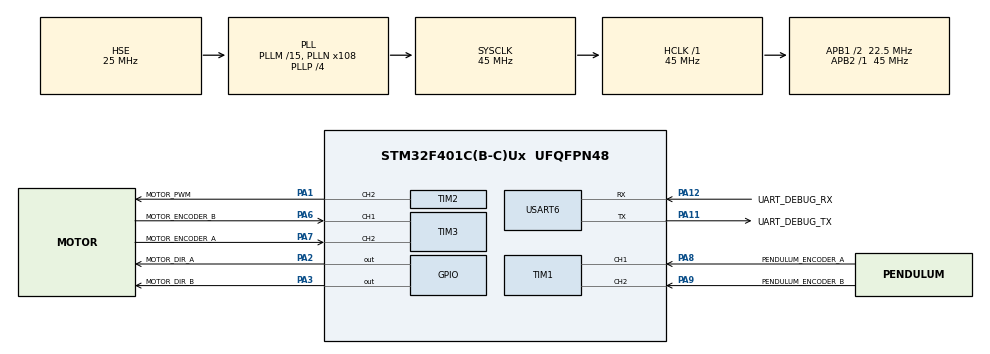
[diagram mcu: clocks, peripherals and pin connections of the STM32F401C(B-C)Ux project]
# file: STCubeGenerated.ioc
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Dma.Request0=USART6_RX
Dma.Request1=USART6_TX
Dma.USART6_RX.0.Direction=DMA_PERIPH_TO_MEMORY
Dma.USART6_RX.0.FIFOMode=DMA_FIFOMODE_DISABLE
Dma.USART6_RX.0.Instance=DMA2_Stream1
Dma.USART6_RX.0.MemDataAlignment=DMA_MDATAALIGN_BYTE
Dma.USART6_RX.0.MemInc=DMA_MINC_ENABLE
Dma.USART6_RX.0.Mode=DMA_NORMAL
Dma.USART6_RX.0.PeriphDataAlignment=DMA_PDATAALIGN_BYTE
Dma.USART6_RX.0.PeriphInc=DMA_PINC_DISABLE
Dma.USART6_RX.0.Priority=DMA_PRIORITY_LOW
Dma.USART6_TX.1.Direction=DMA_MEMORY_TO_PERIPH
Dma.USART6_TX.1.FIFOMode=DMA_FIFOMODE_DISABLE
Dma.USART6_TX.1.Instance=DMA2_Stream6
Dma.USART6_TX.1.MemDataAlignment=DMA_MDATAALIGN_BYTE
Dma.USART6_TX.1.MemInc=DMA_MINC_ENABLE
Dma.USART6_TX.1.Mode=DMA_NORMAL
Dma.USART6_TX.1.PeriphDataAlignment=DMA_PDATAALIGN_BYTE
Dma.USART6_TX.1.PeriphInc=DMA_PINC_DISABLE
Dma.USART6_TX.1.Priority=DMA_PRIORITY_LOW
Mcu.Family=STM32F4
Mcu.Name=STM32F401C(B-C)Ux
Mcu.Package=UFQFPN48
NVIC.DMA2_Stream1_IRQn=true\:0\:0\:false\:false\:true\:false\:true\:true
NVIC.DMA2_Stream6_IRQn=true\:0\:0\:false\:false\:true\:false\:true\:true
NVIC.PriorityGroup=NVIC_PRIORITYGROUP_4
NVIC.USART6_IRQn=true\:0\:0\:false\:false\:true\:true\:true\:true
PA1.GPIO_Label=MOTOR_PWM
PA1.Signal=S_TIM2_CH2
PA11.GPIO_Label=UART_DEBUG_TX
PA11.Mode=Asynchronous
PA11.Signal=USART6_TX
PA12.GPIO_Label=UART_DEBUG_RX
PA12.Mode=Asynchronous
PA12.Signal=USART6_RX
PA2.GPIO_Label=MOTOR_DIR_A
PA2.Signal=GPIO_Output
PA3.GPIO_Label=MOTOR_DIR_B
PA3.Signal=GPIO_Output
PA6.GPIO_Label=MOTOR_ENCODER_B
PA6.GPIO_PuPd=GPIO_PULLUP
PA6.Signal=S_TIM3_CH1
PA7.GPIO_Label=MOTOR_ENCODER_A
PA7.GPIO_PuPd=GPIO_PULLUP
PA7.Signal=S_TIM3_CH2
PA8.GPIO_Label=PENDULUM_ENCODER_A
PA8.GPIO_PuPd=GPIO_PULLUP
PA8.Signal=S_TIM1_CH1
PA9.GPIO_Label=PENDULUM_ENCODER_B
PA9.GPIO_PuPd=GPIO_PULLUP
PA9.Signal=S_TIM1_CH2
PH0\ -\ OSC_IN.Mode=HSE-External-Oscillator
PH0\ -\ OSC_IN.Signal=RCC_OSC_IN
PH1\ -\ OSC_OUT.Mode=HSE-External-Oscillator
PH1\ -\ OSC_OUT.Signal=RCC_OSC_OUT
ProjectManager.HeapSize=0x200
ProjectManager.StackSize=0x400
ProjectManager.TargetToolchain=MDK-ARM V5
RCC.48MHZClocksFreq_Value=45000000
RCC.AHBFreq_Value=45000000
RCC.APB1CLKDivider=RCC_HCLK_DIV2
RCC.APB1Freq_Value=22500000
RCC.APB1TimFreq_Value=45000000
RCC.APB2Freq_Value=45000000
RCC.APB2TimFreq_Value=45000000
RCC.CortexFreq_Value=45000000
RCC.HCLKFreq_Value=45000000
RCC.HSE_VALUE=25000000
RCC.HSI_VALUE=16000000
RCC.LSE_VALUE=32768
RCC.PLLM=15
RCC.PLLN=108
RCC.PLLP=RCC_PLLP_DIV4
RCC.PLLSourceVirtual=RCC_PLLSOURCE_HSE
RCC.SYSCLKFreq_VALUE=45000000
RCC.SYSCLKSource=RCC_SYSCLKSOURCE_PLLCLK
RCC.VCOOutputFreq_Value=180000000
SH.S_TIM1_CH1.0=TIM1_CH1,Encoder_Interface
SH.S_TIM1_CH2.0=TIM1_CH2,Encoder_Interface
SH.S_TIM2_CH2.0=TIM2_CH2,PWM Generation2 CH2
SH.S_TIM3_CH1.0=TIM3_CH1,Encoder_Interface
SH.S_TIM3_CH2.0=TIM3_CH2,Encoder_Interface
TIM1.AutoReloadPreload=TIM_AUTORELOAD_PRELOAD_ENABLE
TIM1.EncoderMode=TIM_ENCODERMODE_TI12
TIM2.Channel-PWM\ Generation2\ CH2=TIM_CHANNEL_2
TIM2.Period=1000-1
TIM2.Prescaler=3-1
TIM3.AutoReloadPreload=TIM_AUTORELOAD_PRELOAD_ENABLE
TIM3.EncoderMode=TIM_ENCODERMODE_TI12
USART6.VirtualMode=VM_ASYNC
board=custom

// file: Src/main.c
/* USER CODE BEGIN Header */
/**
  ******************************************************************************
  * @file           : main.c
  * @brief          : Main program body
  ******************************************************************************
  * @attention
  *
  * Copyright (c) 2024 STMicroelectronics.
  * All rights reserved.
  *
  * This software is licensed under terms that can be found in the LICENSE file
  * in the root directory of this software component.
  * If no LICENSE file comes with this software, it is provided AS-IS.
  *
  ******************************************************************************
  */
/* USER CODE END Header */
#include "main.h"
#include "dma.h"
#include "tim.h"
#include "usart.h"
#include "gpio.h"

/* USER CODE BEGIN Includes */
#include "RTE_Components.h"

#ifdef RTE_Compiler_EventRecorder
	#include "EventRecorder.h"
#endif

#include "cmsis_os2.h"

#include "app_main.h"

/* USER CODE END Includes */

/* USER CODE BEGIN PD */
#define APP_MAIN_STACK_SIZE	1024
/* USER CODE END PD */

/* USER CODE BEGIN PV */
osThreadId_t TID_AppMain;
/* USER CODE END PV */

void SystemClock_Config(void);

/* USER CODE BEGIN 0 */
uint32_t HAL_GetTick (void)
{
	static uint32_t ticks = 0U;
	uint32_t i;

	if(osKernelGetState() == osKernelRunning)
	{
		return ((uint32_t)osKernelGetTickCount ());
	}

	/* If Kernel is not running wait approximately 1 ms then increment and return auxiliary tick counter value */
	for(i = (SystemCoreClock >> 14U); i > 0U; i--) { __NOP(); __NOP(); __NOP(); __NOP(); __NOP(); __NOP(); __NOP(); __NOP(); __NOP(); __NOP(); __NOP(); __NOP(); }
 return ++ticks;
}
/* USER CODE END 0 */

int main(void)
{

  /* MCU Configuration--------------------------------------------------------*/

  /* Reset of all peripherals, Initializes the Flash interface and the Systick. */
  HAL_Init();

  /* Configure the system clock */
  SystemClock_Config();

  /* Initialize all configured peripherals */
  MX_GPIO_Init();
  MX_DMA_Init();
  MX_TIM1_Init();
  MX_TIM2_Init();
  MX_TIM3_Init();
  MX_USART6_UART_Init();
  /* USER CODE BEGIN 2 */

	#ifdef RTE_Compiler_EventRecorder
		EventRecorderInitialize(EventRecordAll, 1);
  #endif

  SystemCoreClockUpdate();
  osKernelInitialize();               	// Initialize CMSIS-RTOS
  TID_AppMain = osThreadNew(APP_Main, NULL, NULL);    // Create application main thread
  osKernelStart();
  /* USER CODE END 2 */

  /* Infinite loop */
  while (1)
  {

  }
}

void SystemClock_Config(void)
{
  RCC_OscInitTypeDef RCC_OscInitStruct = {0};
  RCC_ClkInitTypeDef RCC_ClkInitStruct = {0};

  /** Configure the main internal regulator output voltage
  */
  __HAL_RCC_PWR_CLK_ENABLE();
  __HAL_PWR_VOLTAGESCALING_CONFIG(PWR_REGULATOR_VOLTAGE_SCALE2);

  /** Initializes the RCC Oscillators according to the specified parameters
  * in the RCC_OscInitTypeDef structure.
  */
  RCC_OscInitStruct.OscillatorType = RCC_OSCILLATORTYPE_HSE;
  RCC_OscInitStruct.HSEState = RCC_HSE_ON;
  RCC_OscInitStruct.PLL.PLLState = RCC_PLL_ON;
  RCC_OscInitStruct.PLL.PLLSource = RCC_PLLSOURCE_HSE;
  RCC_OscInitStruct.PLL.PLLM = 15;
  RCC_OscInitStruct.PLL.PLLN = 108;
  RCC_OscInitStruct.PLL.PLLP = RCC_PLLP_DIV4;
  RCC_OscInitStruct.PLL.PLLQ = 4;
  if (HAL_RCC_OscConfig(&RCC_OscInitStruct) != HAL_OK)
  {
    Error_Handler();
  }

  /** Initializes the CPU, AHB and APB buses clocks
  */
  RCC_ClkInitStruct.ClockType = RCC_CLOCKTYPE_HCLK|RCC_CLOCKTYPE_SYSCLK
                              |RCC_CLOCKTYPE_PCLK1|RCC_CLOCKTYPE_PCLK2;
  RCC_ClkInitStruct.SYSCLKSource = RCC_SYSCLKSOURCE_PLLCLK;
  RCC_ClkInitStruct.AHBCLKDivider = RCC_SYSCLK_DIV1;
  RCC_ClkInitStruct.APB1CLKDivider = RCC_HCLK_DIV2;
  RCC_ClkInitStruct.APB2CLKDivider = RCC_HCLK_DIV1;

  if (HAL_RCC_ClockConfig(&RCC_ClkInitStruct, FLASH_LATENCY_1) != HAL_OK)
  {
    Error_Handler();
  }
}

void Error_Handler(void)
{
  __disable_irq();
  while (1)
  {
  }
}
